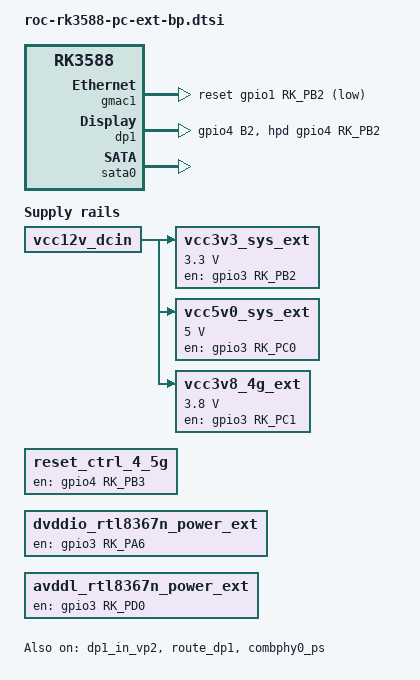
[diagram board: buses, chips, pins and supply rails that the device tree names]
// SPDX-License-Identifier: (GPL-2.0+ OR MIT)
/*
 * Copyright (c) 2021 Rockchip Electronics Co., Ltd.
 *
 */
 
 #define rk3588

#include "roc-rk3588-pc-mipi-H245QBN02.dtsi"

 / {
	reset_ctrl_4_5g: reset-ctrlt_4_5g {		/* on ext board */
		compatible = "regulator-fixed";
		regulator-name = "reset_ctrl_4_5g";
		regulator-boot-on;
		regulator-always-on;
		enable-active-high;
		gpio = <&gpio4 RK_PB3 GPIO_ACTIVE_HIGH>;
		status = "okay";
	};	
	vcc3v3_sys_ext: vcc3v3-sys-ext {		/* on ext board */
		compatible = "regulator-fixed";
		regulator-name = "vcc3v3_sys_ext";
		regulator-boot-on;
		regulator-always-on;
		regulator-min-microvolt = <3300000>;
		regulator-max-microvolt = <3300000>;
		enable-active-high;
		gpio = <&gpio3 RK_PB2 GPIO_ACTIVE_HIGH>;
		vin-supply = <&vcc12v_dcin>;
		status = "okay";
	};
	vcc5v0_sys_ext: vcc5v0-sys-ext {		/* on ext board */
		compatible = "regulator-fixed";
		regulator-name = "vcc5v0_sys_ext";
		regulator-boot-on;
		regulator-always-on;
		regulator-min-microvolt = <5000000>;
		regulator-max-microvolt = <5000000>;
		enable-active-high;
		gpio = <&gpio3 RK_PC0 GPIO_ACTIVE_HIGH>;
		vin-supply = <&vcc12v_dcin>;
		status = "okay";
	};
	vcc3v8_4g_ext: vcc3v8-4g-ext {			/* on ext board */
		compatible = "regulator-fixed";
		regulator-name = "vcc3v8_4g_ext";
		regulator-boot-on;
		regulator-always-on;
		regulator-min-microvolt = <3800000>;
		regulator-max-microvolt = <3800000>;
		enable-active-high;
		gpio = <&gpio3 RK_PC1 GPIO_ACTIVE_HIGH>;
		vin-supply = <&vcc12v_dcin>;
		status = "okay";
	};

	dvddio_rtl8367n_power_ext: dvddio-rtl8367n-power-ext {	/* on ext board */
		compatible = "regulator-fixed";
		regulator-fixed-kernel-reset-ms = <3000>;
		regulator-name = "dvddio-rtl8367n-power-ext";
		regulator-always-on;
		enable-active-high;
		status = "okay";
		gpio = <&gpio3 RK_PA6 GPIO_ACTIVE_HIGH>;   
	};
	avddl_rtl8367n_power_ext: avddl-rtl8367n-power-ext {	/* on ext board */
		compatible = "regulator-fixed";
		regulator-name = "avddl-rtl8367n-power-ext";
		regulator-always-on;
		enable-active-high;
		status = "okay";		
		gpio = <&gpio3 RK_PD0 GPIO_ACTIVE_HIGH>;  
	};


};

&firefly_leds{
	power_led_ext: power_ext {   			/* on ext board */
		label = ":power-ext"; //blue led 
		linux,default-trigger = "ir-power-ext-click";
		default-state = "on";
		gpios = <&gpio4 RK_PB6 GPIO_ACTIVE_HIGH>;
		pinctrl-names = "default";
		pinctrl-0 = <&led_power_ext>;
	};
	

	user_led_ext: user_ext {			/* on ext board */
		label = ":user-ext"; //red led	
		linux,default-trigger = "ir-user-ext-click";
		default-state = "off";
		gpios = <&gpio3 RK_PD5 GPIO_ACTIVE_HIGH>;
		pinctrl-names = "default";
		pinctrl-0 = <&led_user_ext>;
	};

	red_led_bp: red_bp {			/* on bp board */
		label = ":red-bp"; //red led	
		linux,default-trigger = "ir-red-bp-click";
		default-state = "off";
		gpios = <&gpio2 RK_PB4 GPIO_ACTIVE_HIGH>;
		pinctrl-names = "default";
		pinctrl-0 = <&led_red_bp>;
	};	
};

/* gmac1 */			/* on ext board */
&gmac1 {			
	snps,reset-gpio = <&gpio1 RK_PB2 GPIO_ACTIVE_LOW>;
	tx_delay = <0x4a>;
	status = "okay";
};

&gmac1_tx_bus2{
	rockchip,pins =
	/* gmac1_txd0 */
	<3 RK_PB3 1 &pcfg_pull_up_drv_level_6>,
    /* gmac1_txd1 */
	<3 RK_PB4 1 &pcfg_pull_up_drv_level_6>,
	/* gmac1_txen */
	<3 RK_PB5 1 &pcfg_pull_none>;
};

&gmac1_rgmii_bus{
	rockchip,pins =
	/* gmac1_rxd2 */
	<3 RK_PA2 1 &pcfg_pull_none>,
	/* gmac1_rxd3 */
	<3 RK_PA3 1 &pcfg_pull_none>,
	/* gmac1_txd2 */
	<3 RK_PA0 1 &pcfg_pull_up_drv_level_6>,
	/* gmac1_txd3 */
	<3 RK_PA1 1 &pcfg_pull_up_drv_level_6>;
};


/* display port1 to vga -- on ext board */ 
&dp1_in_vp2 {				
	status = "okay";
};

&dp1 {
	pinctrl-names = "default";
	pinctrl-0 = <&dp1_hpd>;
	hpd-gpios = <&gpio4 RK_PB2 GPIO_ACTIVE_HIGH>;
	status = "okay";
};
&route_dp1{
	status = "okay";
	connect = <&vp2_out_dp1>;
};

/* sata pm */     /* on ext board */
&combphy0_ps {
	status = "okay";
};

&sata0 {
	status = "okay";
};

/* pinctrl */
&pinctrl {
	dp {
		dp1_hpd: dp1-hpd {
			 rockchip,pins = <4 RK_PB2 RK_FUNC_GPIO &pcfg_pull_none>;
		};
	};
	leds {
		led_power_ext: led-power-ext {
			rockchip,pins = <4 RK_PB6 RK_FUNC_GPIO &pcfg_pull_none>;
		};
		led_user_ext: led-user-ext {
			rockchip,pins = <3 RK_PD5 RK_FUNC_GPIO &pcfg_pull_none>;
		};
		led_red_bp: led-red-bp {
			rockchip,pins = <2 RK_PB4 RK_FUNC_GPIO &pcfg_pull_none>;
		};
 	};
};
